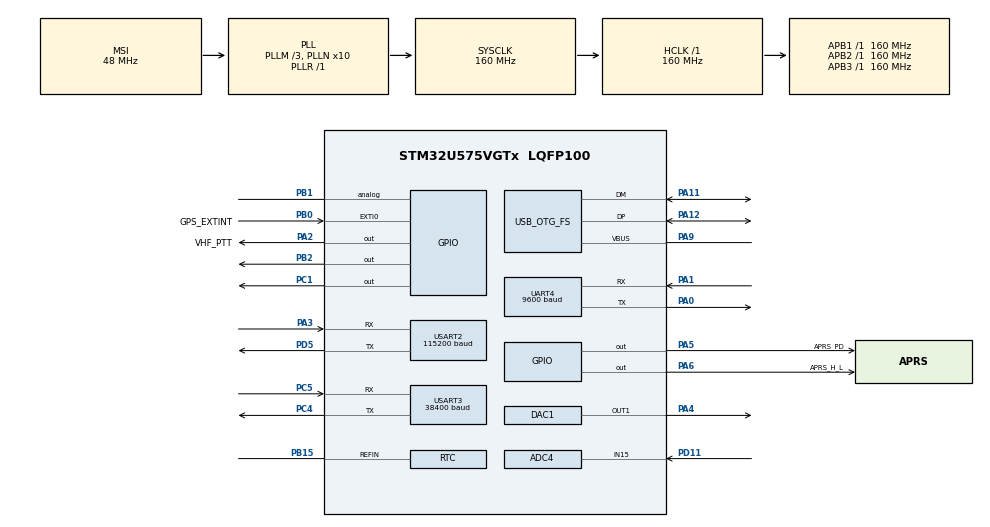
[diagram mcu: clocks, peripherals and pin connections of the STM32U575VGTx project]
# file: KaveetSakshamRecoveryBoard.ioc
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ADC4.NbrOfConversion=1
ADC4.NbrOfConversionFlag=0
ADC4.SelectedChannel=ADC_CHANNEL_15
CORTEX_M33_NS.userName=CORTEX_M33
DAC1.DAC_Channel-DAC_OUT1=DAC_CHANNEL_1
DAC1.DAC_OutputBuffer_OUT1-DAC_OUT1=DAC_OUTPUTBUFFER_ENABLE
DAC1.DAC_Trigger-DAC_OUT1=DAC_TRIGGER_T2_TRGO
GPDMA1.CIRCULARMODE_GPDMACH1=ENABLE
GPDMA1.DESTDATAWIDTH_GPDMACH1=DMA_DEST_DATAWIDTH_WORD
GPDMA1.DESTINC_GPDMACH1=DMA_DINC_FIXED
GPDMA1.DIRECTION_GPDMACH1=DMA_MEMORY_TO_PERIPH
GPDMA1.IPHANDLE_GPDMACH1-SIMPLEREQUEST_GPDMACH1=__NULL
GPDMA1.REQUEST_GPDMACH1=GPDMA1_REQUEST_DAC1_CH1
GPDMA1.SRCDATAWIDTH_GPDMACH1=DMA_SRC_DATAWIDTH_WORD
GPDMA1.SRCINC_GPDMACH1=DMA_SINC_INCREMENTED
Mcu.Family=STM32U5
Mcu.Name=STM32U575VGTx
Mcu.Package=LQFP100
NVIC.GPDMA1_Channel1_IRQn=true\:0\:0\:false\:false\:true\:true\:false\:true\:true
NVIC.PriorityGroup=NVIC_PRIORITYGROUP_4
NVIC.TIM2_IRQn=true\:0\:0\:false\:false\:true\:false\:true\:true\:true
NVIC.TIM6_IRQn=true\:15\:0\:false\:false\:true\:false\:false\:true\:true
NVIC.TimeBase=TIM6_IRQn
NVIC.TimeBaseIP=TIM6
NVIC.USART2_IRQn=true\:0\:0\:false\:false\:true\:false\:true\:true\:true
PA0.Mode=Asynchronous
PA0.Signal=UART4_TX
PA1.Mode=Asynchronous
PA1.Signal=UART4_RX
PA11.Mode=Device_Only
PA11.Signal=USB_OTG_FS_DM
PA12.Mode=Device_Only
PA12.Signal=USB_OTG_FS_DP
PA13\ (JTMS/SWDIO).Mode=Trace_Asynchronous_SW
PA13\ (JTMS/SWDIO).Signal=DEBUG_JTMS-SWDIO
PA14\ (JTCK/SWCLK).Mode=Trace_Asynchronous_SW
PA14\ (JTCK/SWCLK).Signal=DEBUG_JTCK-SWCLK
PA2.GPIO_Label=VHF_PTT
PA2.Signal=GPIO_Output
PA3.Mode=Asynchronous
PA3.Signal=USART2_RX
PA4.Signal=COMP_DAC11_group
PA5.GPIO_Label=APRS_PD
PA5.PinState=GPIO_PIN_SET
PA5.Signal=GPIO_Output
PA6.GPIO_Label=APRS_H_L
PA6.Signal=GPIO_Output
PA9.Mode=Activate_VBUS
PA9.Signal=USB_OTG_FS_VBUS
PB0.GPIO_Label=GPS_EXTINT
PB0.Signal=GPXTI0
PB1.Signal=SharedAnalog_PB1
PB15.Mode=Reference_Clock_Detection_Activate
PB15.Signal=RTC_REFIN
PB2.Signal=GPIO_Output
PB3\ (JTDO/TRACESWO).Mode=Trace_Asynchronous_SW
PB3\ (JTDO/TRACESWO).Signal=DEBUG_JTDO-SWO
PC1.Signal=GPIO_Output
PC14-OSC32_IN\ (PC14).Mode=LSE-External-Oscillator
PC14-OSC32_IN\ (PC14).Signal=RCC_OSC32_IN
PC15-OSC32_OUT\ (PC15).Mode=LSE-External-Oscillator
PC15-OSC32_OUT\ (PC15).Signal=RCC_OSC32_OUT
PC4.Mode=Asynchronous
PC4.Signal=USART3_TX
PC5.Mode=Asynchronous
PC5.Signal=USART3_RX
PD11.Signal=SharedAnalog_PD11
PD5.Mode=Asynchronous
PD5.Signal=USART2_TX
PH0-OSC_IN\ (PH0).Mode=HSE-External-Oscillator
PH0-OSC_IN\ (PH0).Signal=RCC_OSC_IN
PH1-OSC_OUT\ (PH1).Mode=HSE-External-Oscillator
PH1-OSC_OUT\ (PH1).Signal=RCC_OSC_OUT
ProjectManager.HeapSize=0x200
ProjectManager.StackSize=0x400
ProjectManager.TargetToolchain=STM32CubeIDE
RCC.ADCFreq_Value=16000000
RCC.AHBFreq_Value=160000000
RCC.APB1Freq_Value=160000000
RCC.APB1TimFreq_Value=160000000
RCC.APB2Freq_Value=160000000
RCC.APB2TimFreq_Value=160000000
RCC.APB3Freq_Value=160000000
RCC.CortexFreq_Value=160000000
RCC.EPOD_VALUE=48000000
RCC.FLatency=FLASH_LATENCY_4
RCC.HCLKFreq_Value=160000000
RCC.HSE_VALUE=16000000
RCC.HSI48_VALUE=48000000
RCC.HSI_VALUE=16000000
RCC.LSIDIV_VALUE=32000
RCC.MSICalibrationValue=16
RCC.MSIClockRange=RCC_MSIRANGE_0
RCC.MSI_VALUE=48000000
RCC.PLL1R=1
RCC.PLL2FRACN=0
RCC.PLL2M=3
RCC.PLL2N=8
RCC.PLL3FRACN=0
RCC.PLLFRACN=0
RCC.PLLM=3
RCC.PLLN=10
RCC.PWR_Regulator_Voltage_Scale=PWR_REGULATOR_VOLTAGE_SCALE1
RCC.SYSCLKFreq_VALUE=160000000
RCC.SYSCLKSource=RCC_SYSCLKSOURCE_PLLCLK
RCC.USBFreq_Value=48000000
RCC.VCOOutputFreq_Value=160000000
SH.COMP_DAC11_group.0=DAC1_OUT1,DAC_OUT1
SH.SharedAnalog_PB1.0=GPIO_Analog
SH.SharedAnalog_PB1.1=ADC1_IN16
SH.SharedAnalog_PD11.0=GPIO_Analog
SH.SharedAnalog_PD11.1=ADC4_IN15,IN15
THREADX.TX_APP_MEM_POOL_SIZE=20*1024
THREADX.TX_LOW_POWER=1
THREADX.TX_TIMER_TICKS_PER_SECOND=20000
TIM2.PeriodNoDither=45
TIM2.Prescaler=16-1
TIM2.TIM_MasterOutputTrigger=TIM_TRGO_UPDATE
UART4.BaudRate=9600
UART4.OverrunDisableParam=UART_ADVFEATURE_OVERRUN_DISABLE
USART2.BaudRate=115200
USART2.FIFOMode=FIFOMODE_ENABLE
USART2.OverrunDisableParam=ADVFEATURE_OVERRUN_ENABLE
USART2.VirtualMode-Asynchronous=VM_ASYNC
USART3.BaudRate=38400
USART3.VirtualMode-Asynchronous=VM_ASYNC
USB_OTG_FS.VirtualMode=Device_Only
VP_GPDMA1_VS_GPDMACH1.Mode=SIMPLEREQUEST_GPDMACH1
VP_PWR_VS_LPOM.Mode=PowerOptimisation
VP_PWR_VS_SECSignals.Mode=Security/Privilege
VP_RTC_VS_RTC_Activate.Mode=RTC_Enabled
VP_SYS_VS_tim6.Mode=TIM6
VP_THREADX_VS_RTOSJjThreadXJjCoreJjDefault.Mode=Core_Default
VP_THREADX_VS_RTOSJjThreadXJjLow_Power_Support.Mode=Low_Power_Support
VP_TIM2_VS_ClockSourceINT.Mode=Internal
VREF+.Mode=InternalMode
VREF+.Signal=VREFBUF_OUT
VREFBUF.VoltageScaling=SYSCFG_VREFBUF_VOLTAGE_SCALE3
board=custom

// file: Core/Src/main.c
/* USER CODE BEGIN Header */
/**
  ******************************************************************************
  * @file           : main.c
  * @brief          : Main program body
  ******************************************************************************
  * @attention
  *
  * Copyright (c) 2023 STMicroelectronics.
  * All rights reserved.
  *
  * This software is licensed under terms that can be found in the LICENSE file
  * in the root directory of this software component.
  * If no LICENSE file comes with this software, it is provided AS-IS.
  *
  ******************************************************************************
  */
/* USER CODE END Header */
#include "app_threadx.h"
#include "main.h"

ADC_HandleTypeDef hadc4;

DAC_HandleTypeDef hdac1;
DMA_NodeTypeDef Node_GPDMA1_Channel1;
DMA_QListTypeDef List_GPDMA1_Channel1;
DMA_HandleTypeDef handle_GPDMA1_Channel1;

RTC_HandleTypeDef hrtc;

TIM_HandleTypeDef htim2;

UART_HandleTypeDef huart4;
UART_HandleTypeDef huart2;
UART_HandleTypeDef huart3;

PCD_HandleTypeDef hpcd_USB_OTG_FS;

void SystemClock_Config(void);
static void MX_GPIO_Init(void);
static void MX_GPDMA1_Init(void);
static void MX_DAC1_Init(void);
static void MX_TIM2_Init(void);
static void MX_RTC_Init(void);
static void MX_UART4_Init(void);
static void MX_USART3_UART_Init(void);
static void MX_USART2_UART_Init(void);
static void MX_USB_OTG_FS_PCD_Init(void);
static void MX_ADC4_Init(void);

int main(void)
{

  /* MCU Configuration--------------------------------------------------------*/

  /* Reset of all peripherals, Initializes the Flash interface and the Systick. */
  HAL_Init();

  /* Configure the system clock */
  SystemClock_Config();

  /* Initialize all configured peripherals */
  MX_GPIO_Init();
  MX_GPDMA1_Init();
  MX_DAC1_Init();
  MX_TIM2_Init();
  MX_RTC_Init();
  MX_UART4_Init();
  MX_USART3_UART_Init();
  MX_USART2_UART_Init();
  MX_USB_OTG_FS_PCD_Init();
  MX_ADC4_Init();
  /* USER CODE BEGIN 2 */

  //********************************REQUIRED FOR ADC USE DO NOT REMOVE********************************
  HAL_PWREx_EnableVddA();
  /* USER CODE END 2 */

  MX_ThreadX_Init();

  /* We should never get here as control is now taken by the scheduler */
  /* Infinite loop */
  while (1)
  {

  }
}

void SystemClock_Config(void)
{
  RCC_OscInitTypeDef RCC_OscInitStruct = {0};
  RCC_ClkInitTypeDef RCC_ClkInitStruct = {0};

  /** Configure the main internal regulator output voltage
  */
  if (HAL_PWREx_ControlVoltageScaling(PWR_REGULATOR_VOLTAGE_SCALE1) != HAL_OK)
  {
    Error_Handler();
  }

  /** Initializes the CPU, AHB and APB buses clocks
  */
  RCC_OscInitStruct.OscillatorType = RCC_OSCILLATORTYPE_HSI48|RCC_OSCILLATORTYPE_HSI
                              |RCC_OSCILLATORTYPE_LSI|RCC_OSCILLATORTYPE_MSI;
  RCC_OscInitStruct.HSIState = RCC_HSI_ON;
  RCC_OscInitStruct.HSI48State = RCC_HSI48_ON;
  RCC_OscInitStruct.HSICalibrationValue = RCC_HSICALIBRATION_DEFAULT;
  RCC_OscInitStruct.LSIState = RCC_LSI_ON;
  RCC_OscInitStruct.MSIState = RCC_MSI_ON;
  RCC_OscInitStruct.MSICalibrationValue = RCC_MSICALIBRATION_DEFAULT;
  RCC_OscInitStruct.MSIClockRange = RCC_MSIRANGE_0;
  RCC_OscInitStruct.LSIDiv = RCC_LSI_DIV1;
  RCC_OscInitStruct.PLL.PLLState = RCC_PLL_ON;
  RCC_OscInitStruct.PLL.PLLSource = RCC_PLLSOURCE_MSI;
  RCC_OscInitStruct.PLL.PLLMBOOST = RCC_PLLMBOOST_DIV4;
  RCC_OscInitStruct.PLL.PLLM = 3;
  RCC_OscInitStruct.PLL.PLLN = 10;
  RCC_OscInitStruct.PLL.PLLP = 2;
  RCC_OscInitStruct.PLL.PLLQ = 2;
  RCC_OscInitStruct.PLL.PLLR = 1;
  RCC_OscInitStruct.PLL.PLLRGE = RCC_PLLVCIRANGE_1;
  RCC_OscInitStruct.PLL.PLLFRACN = 0;
  if (HAL_RCC_OscConfig(&RCC_OscInitStruct) != HAL_OK)
  {
    Error_Handler();
  }

  /** Initializes the CPU, AHB and APB buses clocks
  */
  RCC_ClkInitStruct.ClockType = RCC_CLOCKTYPE_HCLK|RCC_CLOCKTYPE_SYSCLK
                              |RCC_CLOCKTYPE_PCLK1|RCC_CLOCKTYPE_PCLK2
                              |RCC_CLOCKTYPE_PCLK3;
  RCC_ClkInitStruct.SYSCLKSource = RCC_SYSCLKSOURCE_PLLCLK;
  RCC_ClkInitStruct.AHBCLKDivider = RCC_SYSCLK_DIV1;
  RCC_ClkInitStruct.APB1CLKDivider = RCC_HCLK_DIV1;
  RCC_ClkInitStruct.APB2CLKDivider = RCC_HCLK_DIV1;
  RCC_ClkInitStruct.APB3CLKDivider = RCC_HCLK_DIV1;

  if (HAL_RCC_ClockConfig(&RCC_ClkInitStruct, FLASH_LATENCY_4) != HAL_OK)
  {
    Error_Handler();
  }
}

static void MX_ADC4_Init(void)
{

  ADC_ChannelConfTypeDef sConfig = {0};

  /** Common config
  */
  hadc4.Instance = ADC4;
  hadc4.Init.ClockPrescaler = ADC_CLOCK_ASYNC_DIV1;
  hadc4.Init.Resolution = ADC_RESOLUTION_12B;
  hadc4.Init.DataAlign = ADC_DATAALIGN_RIGHT;
  hadc4.Init.ScanConvMode = ADC_SCAN_DIRECTION_FORWARD;
  hadc4.Init.EOCSelection = ADC_EOC_SINGLE_CONV;
  hadc4.Init.LowPowerAutoPowerOff = ADC_LOW_POWER_NONE;
  hadc4.Init.LowPowerAutoWait = DISABLE;
  hadc4.Init.ContinuousConvMode = DISABLE;
  hadc4.Init.NbrOfConversion = 1;
  hadc4.Init.DiscontinuousConvMode = DISABLE;
  hadc4.Init.ExternalTrigConv = ADC_SOFTWARE_START;
  hadc4.Init.ExternalTrigConvEdge = ADC_EXTERNALTRIGCONVEDGE_NONE;
  hadc4.Init.DMAContinuousRequests = DISABLE;
  hadc4.Init.TriggerFrequencyMode = ADC_TRIGGER_FREQ_LOW;
  hadc4.Init.Overrun = ADC_OVR_DATA_PRESERVED;
  hadc4.Init.SamplingTimeCommon1 = ADC4_SAMPLETIME_1CYCLE_5;
  hadc4.Init.SamplingTimeCommon2 = ADC4_SAMPLETIME_1CYCLE_5;
  hadc4.Init.OversamplingMode = DISABLE;
  if (HAL_ADC_Init(&hadc4) != HAL_OK)
  {
    Error_Handler();
  }

  /** Configure Regular Channel
  */
  sConfig.Channel = ADC_CHANNEL_15;
  sConfig.Rank = ADC4_RANK_CHANNEL_NUMBER;
  sConfig.SamplingTime = ADC4_SAMPLINGTIME_COMMON_1;
  sConfig.OffsetNumber = ADC_OFFSET_NONE;
  sConfig.Offset = 0;
  if (HAL_ADC_ConfigChannel(&hadc4, &sConfig) != HAL_OK)
  {
    Error_Handler();
  }

}

static void MX_DAC1_Init(void)
{

  DAC_ChannelConfTypeDef sConfig = {0};
  DAC_AutonomousModeConfTypeDef sAutonomousMode = {0};

  /** DAC Initialization
  */
  hdac1.Instance = DAC1;
  if (HAL_DAC_Init(&hdac1) != HAL_OK)
  {
    Error_Handler();
  }

  /** DAC channel OUT1 config
  */
  sConfig.DAC_HighFrequency = DAC_HIGH_FREQUENCY_INTERFACE_MODE_DISABLE;
  sConfig.DAC_DMADoubleDataMode = DISABLE;
  sConfig.DAC_SignedFormat = DISABLE;
  sConfig.DAC_SampleAndHold = DAC_SAMPLEANDHOLD_DISABLE;
  sConfig.DAC_Trigger = DAC_TRIGGER_T2_TRGO;
  sConfig.DAC_OutputBuffer = DAC_OUTPUTBUFFER_ENABLE;
  sConfig.DAC_ConnectOnChipPeripheral = DAC_CHIPCONNECT_EXTERNAL;
  sConfig.DAC_UserTrimming = DAC_TRIMMING_FACTORY;
  if (HAL_DAC_ConfigChannel(&hdac1, &sConfig, DAC_CHANNEL_1) != HAL_OK)
  {
    Error_Handler();
  }

  /** Configure Autonomous Mode
  */
  sAutonomousMode.AutonomousModeState = DAC_AUTONOMOUS_MODE_DISABLE;
  if (HAL_DACEx_SetConfigAutonomousMode(&hdac1, &sAutonomousMode) != HAL_OK)
  {
    Error_Handler();
  }

}

static void MX_GPDMA1_Init(void)
{

  /* Peripheral clock enable */
  __HAL_RCC_GPDMA1_CLK_ENABLE();

  /* GPDMA1 interrupt Init */
    HAL_NVIC_SetPriority(GPDMA1_Channel1_IRQn, 0, 0);
    HAL_NVIC_EnableIRQ(GPDMA1_Channel1_IRQn);

}

static void MX_RTC_Init(void)
{

  RTC_PrivilegeStateTypeDef privilegeState = {0};

  /** Initialize RTC Only
  */
  hrtc.Instance = RTC;
  hrtc.Init.HourFormat = RTC_HOURFORMAT_24;
  hrtc.Init.AsynchPrediv = 127;
  hrtc.Init.SynchPrediv = 255;
  hrtc.Init.OutPut = RTC_OUTPUT_DISABLE;
  hrtc.Init.OutPutRemap = RTC_OUTPUT_REMAP_NONE;
  hrtc.Init.OutPutPolarity = RTC_OUTPUT_POLARITY_HIGH;
  hrtc.Init.OutPutType = RTC_OUTPUT_TYPE_OPENDRAIN;
  hrtc.Init.OutPutPullUp = RTC_OUTPUT_PULLUP_NONE;
  hrtc.Init.BinMode = RTC_BINARY_NONE;
  if (HAL_RTC_Init(&hrtc) != HAL_OK)
  {
    Error_Handler();
  }
  privilegeState.rtcPrivilegeFull = RTC_PRIVILEGE_FULL_NO;
  privilegeState.backupRegisterPrivZone = RTC_PRIVILEGE_BKUP_ZONE_NONE;
  privilegeState.backupRegisterStartZone2 = RTC_BKP_DR0;
  privilegeState.backupRegisterStartZone3 = RTC_BKP_DR0;
  if (HAL_RTCEx_PrivilegeModeSet(&hrtc, &privilegeState) != HAL_OK)
  {
    Error_Handler();
  }

  /** Enable the reference Clock input
  */
  if (HAL_RTCEx_SetRefClock(&hrtc) != HAL_OK)
  {
    Error_Handler();
  }

}

static void MX_TIM2_Init(void)
{

  TIM_ClockConfigTypeDef sClockSourceConfig = {0};
  TIM_MasterConfigTypeDef sMasterConfig = {0};

  htim2.Instance = TIM2;
  htim2.Init.Prescaler = 16-1;
  htim2.Init.CounterMode = TIM_COUNTERMODE_UP;
  htim2.Init.Period = 45;
  htim2.Init.ClockDivision = TIM_CLOCKDIVISION_DIV1;
  htim2.Init.AutoReloadPreload = TIM_AUTORELOAD_PRELOAD_DISABLE;
  if (HAL_TIM_Base_Init(&htim2) != HAL_OK)
  {
    Error_Handler();
  }
  sClockSourceConfig.ClockSource = TIM_CLOCKSOURCE_INTERNAL;
  if (HAL_TIM_ConfigClockSource(&htim2, &sClockSourceConfig) != HAL_OK)
  {
    Error_Handler();
  }
  sMasterConfig.MasterOutputTrigger = TIM_TRGO_UPDATE;
  sMasterConfig.MasterSlaveMode = TIM_MASTERSLAVEMODE_DISABLE;
  if (HAL_TIMEx_MasterConfigSynchronization(&htim2, &sMasterConfig) != HAL_OK)
  {
    Error_Handler();
  }

}

static void MX_UART4_Init(void)
{

  huart4.Instance = UART4;
  huart4.Init.BaudRate = 9600;
  huart4.Init.WordLength = UART_WORDLENGTH_8B;
  huart4.Init.StopBits = UART_STOPBITS_1;
  huart4.Init.Parity = UART_PARITY_NONE;
  huart4.Init.Mode = UART_MODE_TX_RX;
  huart4.Init.HwFlowCtl = UART_HWCONTROL_NONE;
  huart4.Init.OverSampling = UART_OVERSAMPLING_16;
  huart4.Init.OneBitSampling = UART_ONE_BIT_SAMPLE_DISABLE;
  huart4.Init.ClockPrescaler = UART_PRESCALER_DIV1;
  huart4.AdvancedInit.AdvFeatureInit = UART_ADVFEATURE_RXOVERRUNDISABLE_INIT;
  huart4.AdvancedInit.OverrunDisable = UART_ADVFEATURE_OVERRUN_DISABLE;
  if (HAL_UART_Init(&huart4) != HAL_OK)
  {
    Error_Handler();
  }
  if (HAL_UARTEx_SetTxFifoThreshold(&huart4, UART_TXFIFO_THRESHOLD_1_8) != HAL_OK)
  {
    Error_Handler();
  }
  if (HAL_UARTEx_SetRxFifoThreshold(&huart4, UART_RXFIFO_THRESHOLD_1_8) != HAL_OK)
  {
    Error_Handler();
  }
  if (HAL_UARTEx_DisableFifoMode(&huart4) != HAL_OK)
  {
    Error_Handler();
  }

}

static void MX_USART2_UART_Init(void)
{

  huart2.Instance = USART2;
  huart2.Init.BaudRate = 115200;
  huart2.Init.WordLength = UART_WORDLENGTH_8B;
  huart2.Init.StopBits = UART_STOPBITS_1;
  huart2.Init.Parity = UART_PARITY_NONE;
  huart2.Init.Mode = UART_MODE_TX_RX;
  huart2.Init.HwFlowCtl = UART_HWCONTROL_NONE;
  huart2.Init.OverSampling = UART_OVERSAMPLING_16;
  huart2.Init.OneBitSampling = UART_ONE_BIT_SAMPLE_DISABLE;
  huart2.Init.ClockPrescaler = UART_PRESCALER_DIV1;
  huart2.AdvancedInit.AdvFeatureInit = UART_ADVFEATURE_NO_INIT;
  if (HAL_UART_Init(&huart2) != HAL_OK)
  {
    Error_Handler();
  }
  if (HAL_UARTEx_SetTxFifoThreshold(&huart2, UART_TXFIFO_THRESHOLD_1_8) != HAL_OK)
  {
    Error_Handler();
  }
  if (HAL_UARTEx_SetRxFifoThreshold(&huart2, UART_RXFIFO_THRESHOLD_1_8) != HAL_OK)
  {
    Error_Handler();
  }
  if (HAL_UARTEx_EnableFifoMode(&huart2) != HAL_OK)
  {
    Error_Handler();
  }

}

static void MX_USART3_UART_Init(void)
{

  huart3.Instance = USART3;
  huart3.Init.BaudRate = 38400;
  huart3.Init.WordLength = UART_WORDLENGTH_8B;
  huart3.Init.StopBits = UART_STOPBITS_1;
  huart3.Init.Parity = UART_PARITY_NONE;
  huart3.Init.Mode = UART_MODE_TX_RX;
  huart3.Init.HwFlowCtl = UART_HWCONTROL_NONE;
  huart3.Init.OverSampling = UART_OVERSAMPLING_16;
  huart3.Init.OneBitSampling = UART_ONE_BIT_SAMPLE_DISABLE;
  huart3.Init.ClockPrescaler = UART_PRESCALER_DIV1;
  huart3.AdvancedInit.AdvFeatureInit = UART_ADVFEATURE_NO_INIT;
  if (HAL_UART_Init(&huart3) != HAL_OK)
  {
    Error_Handler();
  }
  if (HAL_UARTEx_SetTxFifoThreshold(&huart3, UART_TXFIFO_THRESHOLD_1_8) != HAL_OK)
  {
    Error_Handler();
  }
  if (HAL_UARTEx_SetRxFifoThreshold(&huart3, UART_RXFIFO_THRESHOLD_1_8) != HAL_OK)
  {
    Error_Handler();
  }
  if (HAL_UARTEx_DisableFifoMode(&huart3) != HAL_OK)
  {
    Error_Handler();
  }

}

static void MX_USB_OTG_FS_PCD_Init(void)
{

  hpcd_USB_OTG_FS.Instance = USB_OTG_FS;
  hpcd_USB_OTG_FS.Init.dev_endpoints = 6;
  hpcd_USB_OTG_FS.Init.phy_itface = PCD_PHY_EMBEDDED;
  hpcd_USB_OTG_FS.Init.Sof_enable = DISABLE;
  hpcd_USB_OTG_FS.Init.low_power_enable = DISABLE;
  hpcd_USB_OTG_FS.Init.lpm_enable = DISABLE;
  hpcd_USB_OTG_FS.Init.battery_charging_enable = ENABLE;
  hpcd_USB_OTG_FS.Init.use_dedicated_ep1 = DISABLE;
  hpcd_USB_OTG_FS.Init.vbus_sensing_enable = ENABLE;
  if (HAL_PCD_Init(&hpcd_USB_OTG_FS) != HAL_OK)
  {
    Error_Handler();
  }

}

static void MX_GPIO_Init(void)
{
  GPIO_InitTypeDef GPIO_InitStruct = {0};

  /* GPIO Ports Clock Enable */
  __HAL_RCC_GPIOC_CLK_ENABLE();
  __HAL_RCC_GPIOH_CLK_ENABLE();
  __HAL_RCC_GPIOA_CLK_ENABLE();
  __HAL_RCC_GPIOB_CLK_ENABLE();
  __HAL_RCC_GPIOD_CLK_ENABLE();

  /*Configure GPIO pin Output Level */
  HAL_GPIO_WritePin(GPIOC, GPIO_PIN_1, GPIO_PIN_SET);

  /*Configure GPIO pin Output Level */
  HAL_GPIO_WritePin(GPIOA, VHF_PTT_Pin|APRS_H_L_Pin, GPIO_PIN_RESET);

  /*Configure GPIO pin Output Level */
  HAL_GPIO_WritePin(APRS_PD_GPIO_Port, APRS_PD_Pin, GPIO_PIN_SET);

  /*Configure GPIO pin Output Level */
  HAL_GPIO_WritePin(GPIOB, GPIO_PIN_2, GPIO_PIN_RESET);

  /*Configure GPIO pin : PC1 */
  GPIO_InitStruct.Pin = GPIO_PIN_1;
  GPIO_InitStruct.Mode = GPIO_MODE_OUTPUT_PP;
  GPIO_InitStruct.Pull = GPIO_NOPULL;
  GPIO_InitStruct.Speed = GPIO_SPEED_FREQ_LOW;
  HAL_GPIO_Init(GPIOC, &GPIO_InitStruct);

  /*Configure GPIO pins : VHF_PTT_Pin APRS_PD_Pin APRS_H_L_Pin */
  GPIO_InitStruct.Pin = VHF_PTT_Pin|APRS_PD_Pin|APRS_H_L_Pin;
  GPIO_InitStruct.Mode = GPIO_MODE_OUTPUT_PP;
  GPIO_InitStruct.Pull = GPIO_NOPULL;
  GPIO_InitStruct.Speed = GPIO_SPEED_FREQ_LOW;
  HAL_GPIO_Init(GPIOA, &GPIO_InitStruct);

  /*Configure GPIO pin : GPS_EXTINT_Pin */
  GPIO_InitStruct.Pin = GPS_EXTINT_Pin;
  GPIO_InitStruct.Mode = GPIO_MODE_IT_RISING;
  GPIO_InitStruct.Pull = GPIO_NOPULL;
  HAL_GPIO_Init(GPS_EXTINT_GPIO_Port, &GPIO_InitStruct);

  /*Configure GPIO pin : PB1 */
  GPIO_InitStruct.Pin = GPIO_PIN_1;
  GPIO_InitStruct.Mode = GPIO_MODE_ANALOG;
  GPIO_InitStruct.Pull = GPIO_NOPULL;
  HAL_GPIO_Init(GPIOB, &GPIO_InitStruct);

  /*Configure GPIO pin : PB2 */
  GPIO_InitStruct.Pin = GPIO_PIN_2;
  GPIO_InitStruct.Mode = GPIO_MODE_OUTPUT_PP;
  GPIO_InitStruct.Pull = GPIO_NOPULL;
  GPIO_InitStruct.Speed = GPIO_SPEED_FREQ_LOW;
  HAL_GPIO_Init(GPIOB, &GPIO_InitStruct);

}

/* USER CODE BEGIN 4 */
//Fake timer 2 init function so we can change the period value during runtime
void MX_TIM2_Fake_Init(uint8_t newPeriod){

  TIM_ClockConfigTypeDef sClockSourceConfig = {0};
  TIM_MasterConfigTypeDef sMasterConfig = {0};

  /* USER CODE BEGIN TIM2_Init 1 */

  /* USER CODE END TIM2_Init 1 */
  htim2.Instance = TIM2;
  htim2.Init.Prescaler = 16 - 1;
  htim2.Init.CounterMode = TIM_COUNTERMODE_UP;
  htim2.Init.Period = newPeriod - 1;
  htim2.Init.ClockDivision = TIM_CLOCKDIVISION_DIV1;
  htim2.Init.AutoReloadPreload = TIM_AUTORELOAD_PRELOAD_DISABLE;
  if (HAL_TIM_Base_Init(&htim2) != HAL_OK)
  {
	Error_Handler();
  }
  sClockSourceConfig.ClockSource = TIM_CLOCKSOURCE_INTERNAL;
  if (HAL_TIM_ConfigClockSource(&htim2, &sClockSourceConfig) != HAL_OK)
  {
	Error_Handler();
  }
  sMasterConfig.MasterOutputTrigger = TIM_TRGO_UPDATE;
  sMasterConfig.MasterSlaveMode = TIM_MASTERSLAVEMODE_DISABLE;
  if (HAL_TIMEx_MasterConfigSynchronization(&htim2, &sMasterConfig) != HAL_OK)
  {
	Error_Handler();
  }
}
/* USER CODE END 4 */

void HAL_TIM_PeriodElapsedCallback(TIM_HandleTypeDef *htim)
{
  if (htim->Instance == TIM6) {
    HAL_IncTick();
  }
}

void Error_Handler(void)
{
  __disable_irq();
  while (1)
  {
  }
}
